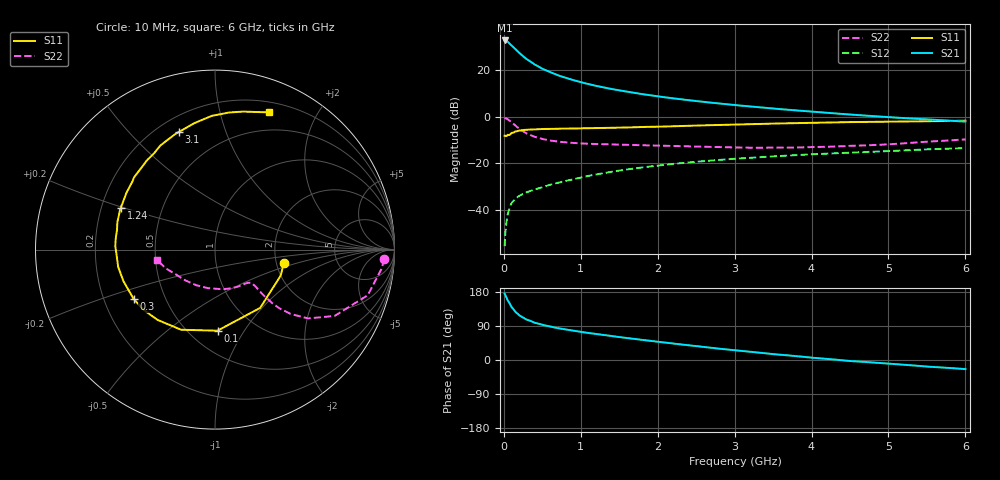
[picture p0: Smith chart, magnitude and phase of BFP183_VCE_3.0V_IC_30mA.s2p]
! Infineon Technologies  Discrete & RF Semiconductors
! BFP183
! VCE = 3.0 V,  IC =  30 mA
! Common Emitter S-Parameters:  Jan 2016
# GHz  S  MA  R  50
!  f  S11  S21  S12  S22
! GHz  MAG  ANG  MAG  ANG  MAG  ANG  MAG  ANG
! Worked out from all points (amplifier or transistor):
!   210 points, 10 MHz to 6 GHz, reference 50 ohm
!   highest |S21| = 32.6 dB at 10 MHz (marker M1)
!   |S21| within 3 dB of that: start of sweep to 128 MHz
!   unconditionally stable (mu >= 1): 623.3 MHz to 5.742 GHz
!   at 185 MHz: K = 0.50, MSG = 31.0 dB, |S12| = -34.2 dB
!   at 1.52 GHz: K = 1.18, MAG = 14.5 dB, |S12| = -22.9 dB
!   at 6 GHz: K = 0.96, MSG = 5.7 dB, |S12| = -13.4 dB
!   S11 on the Smith chart (normalised r, x): 10 MHz: 2.20, -0.39; 100 MHz: 0.68, -0.77; 300 MHz: 0.33, -0.25; 1.24 GHz: 0.28, +0.20; 3.1 GHz: 0.28, +0.70; 6 GHz: 0.30, +1.43
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0.01  0.3915 -11.2  42.87 175.2  0.0017 86.2  0.9452 -3.2
0.02  0.3933 -21.8  42.54 170.9  0.0033 74.6  0.9331 -6.7
0.05  0.4109 -52.2  40.4 157.5  0.0082 76.2  0.8884 -16.6
0.1  0.452 -88.2  33.82 139.9  0.0141 61.9  0.7623 -29.0
0.15  0.4848 -112.9  27.97 127.0  0.0177 56.2  0.6447 -36.5
0.2  0.5058 -129.2  23.28 117.9  0.0202 53.2  0.5526 -40.4
0.24  0.5165 -137.9  20.33 112.8  0.022 52.1  0.499 -42.0
0.26  0.5218 -141.8  19.07 110.4  0.0229 51.7  0.4757 -42.5
0.3  0.5299 -148.9  16.95 106.3  0.0244 51.3  0.4357 -43.1
0.4  0.5397 -160.9  13.15 98.4  0.0277 52.2  0.3718 -43.3
0.5  0.5481 -169.9  10.65 92.8  0.031 52.9  0.3335 -42.8
0.6  0.5485 -176.2  9.029 88.1  0.035 54.2  0.3101 -42.4
0.7  0.5561 178.0  7.72 84.1  0.0385 56.1  0.294 -42.2
0.8  0.5566 173.0  6.827 80.6  0.0421 56.8  0.2833 -42.2
1.02  0.5657 163.5  5.375 73.7  0.0507 57.6  0.2679 -43.5
1.24  0.5743 155.9  4.431 67.6  0.0598 57.3  0.2593 -45.8
1.56  0.588 145.4  3.53 59.0  0.0729 56.0  0.2512 -50.4
2.02  0.6129 132.1  2.696 47.8  0.0907 52.6  0.2413 -59.4
3.1  0.6861 106.9  1.719 23.9  0.1292 42.8  0.2186 -88.2
4.1  0.7488 89.9  1.249 4.6  0.1599 33.4  0.2254 -120.9
5.1  0.7876 77.3  0.957 -11.0  0.187 25.5  0.2628 -149.6
6  0.8223 68.4  0.788 -24.0  0.2133 16.9  0.3273 -169.5
